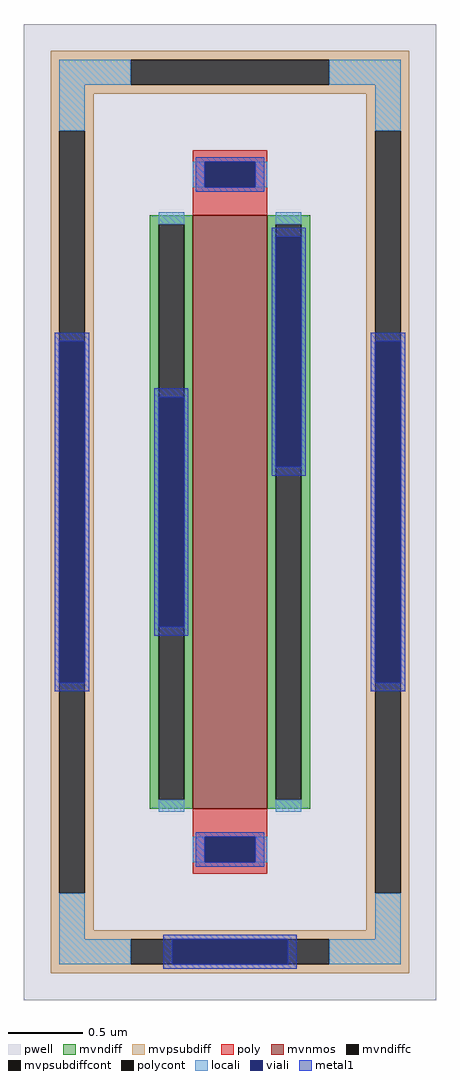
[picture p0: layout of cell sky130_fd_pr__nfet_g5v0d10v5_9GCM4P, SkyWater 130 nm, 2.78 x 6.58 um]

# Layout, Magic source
magic
tech sky130A
magscale 1 2
<< pwell >>
rect -278 -658 278 658
<< mvnmos >>
rect -50 -400 50 400
<< mvndiff >>
rect -108 388 -50 400
rect -108 -388 -96 388
rect -62 -388 -50 388
rect -108 -400 -50 -388
rect 50 388 108 400
rect 50 -388 62 388
rect 96 -388 108 388
rect 50 -400 108 -388
<< mvndiffc >>
rect -96 -388 -62 388
rect 62 -388 96 388
<< mvpsubdiff >>
rect -242 610 242 622
rect -242 576 -134 610
rect 134 576 242 610
rect -242 564 242 576
rect -242 514 -184 564
rect -242 -514 -230 514
rect -196 -514 -184 514
rect 184 514 242 564
rect -242 -564 -184 -514
rect 184 -514 196 514
rect 230 -514 242 514
rect 184 -564 242 -514
rect -242 -576 242 -564
rect -242 -610 -134 -576
rect 134 -610 242 -576
rect -242 -622 242 -610
<< mvpsubdiffcont >>
rect -134 576 134 610
rect -230 -514 -196 514
rect 196 -514 230 514
rect -134 -610 134 -576
<< poly >>
rect -50 472 50 488
rect -50 438 -34 472
rect 34 438 50 472
rect -50 400 50 438
rect -50 -438 50 -400
rect -50 -472 -34 -438
rect 34 -472 50 -438
rect -50 -488 50 -472
<< polycont >>
rect -34 438 34 472
rect -34 -472 34 -438
<< locali >>
rect -230 576 -134 610
rect 134 576 230 610
rect -230 514 -196 576
rect 196 514 230 576
rect -50 438 -34 472
rect 34 438 50 472
rect -96 388 -62 404
rect -96 -404 -62 -388
rect 62 388 96 404
rect 62 -404 96 -388
rect -50 -472 -34 -438
rect 34 -472 50 -438
rect -230 -576 -196 -514
rect 196 -576 230 -514
rect -230 -610 -134 -576
rect 134 -610 230 -576
<< viali >>
rect -34 438 34 472
rect -230 -230 -196 230
rect -96 -155 -62 155
rect 62 61 96 371
rect 196 -230 230 230
rect -34 -472 34 -438
rect -78 -610 78 -576
<< metal1 >>
rect -46 472 46 478
rect -46 438 -34 472
rect 34 438 46 472
rect -46 432 46 438
rect 56 371 102 383
rect -236 230 -190 242
rect -236 -230 -230 230
rect -196 -230 -190 230
rect -102 155 -56 167
rect -102 -155 -96 155
rect -62 -155 -56 155
rect 56 61 62 371
rect 96 61 102 371
rect 56 49 102 61
rect 190 230 236 242
rect -102 -167 -56 -155
rect -236 -242 -190 -230
rect 190 -230 196 230
rect 230 -230 236 230
rect 190 -242 236 -230
rect -46 -438 46 -432
rect -46 -472 -34 -438
rect 34 -472 46 -438
rect -46 -478 46 -472
rect -90 -576 90 -570
rect -90 -610 -78 -576
rect 78 -610 90 -576
rect -90 -616 90 -610
<< properties >>
string FIXED_BBOX -213 -593 213 593
string gencell sky130_fd_pr__nfet_g5v0d10v5
string library sky130
string parameters w 4 l 0.5 m 1 nf 1 diffcov 100 polycov 100 guard 1 glc 1 grc 1 gtc 1 gbc 1 tbcov 100 rlcov 100 topc 1 botc 1 poverlap 0 doverlap 1 lmin 0.50 wmin 0.42 compatible {sky130_fd_pr__nfet_01v8 sky130_fd_pr__nfet_01v8_lvt  sky130_fd_bs_flash__special_sonosfet_star  sky130_fd_pr__nfet_g5v0d10v5 sky130_fd_pr__nfet_05v0_nvt  sky130_fd_pr__nfet_03v3_nvt} full_metal 1 viasrc -40 viadrn 40 viagate 100 viagb 40 viagr 40 viagl 40 viagt 0
<< end >>
